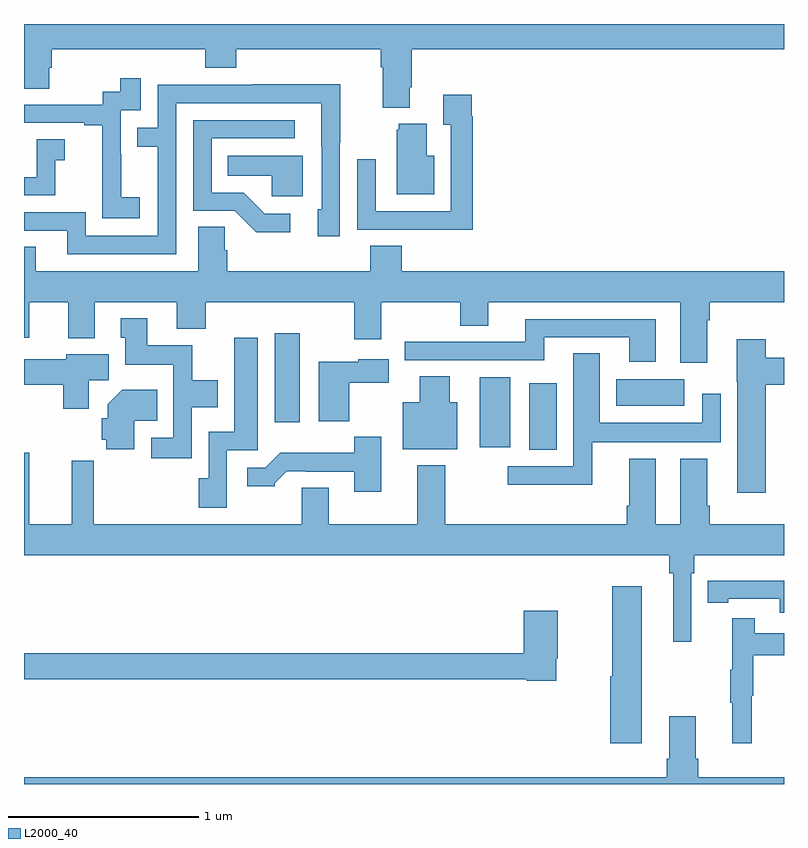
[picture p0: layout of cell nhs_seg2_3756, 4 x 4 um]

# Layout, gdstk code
import gdstk
lib = gdstk.Library(unit=1e-6, precision=1e-09)
def R(c, l, rs):  # rectangles x0, y0, x1, y1
    for r in rs: c.add(gdstk.rectangle(r[:2], r[2:], *l))
def P(c, l, *ps):  # polygons
    for p in ps: c.add(gdstk.Polygon(p, *l))
L2000_40 = (2000, 40)

nhs_seg2_3756 = lib.new_cell('nhs_seg2_3756')
R(nhs_seg2_3756, L2000_40, [(311.66,613.558,311.803,613.909), (311.399,613.572,311.56,613.942), (310.319,613.704,310.45,614.173), (312.116,613.79,312.475,613.93)])
P(nhs_seg2_3756, L2000_40, [(311.029,615.466),(311.042,615.466),(311.042,615.668),(313,615.668),(313,615.8),(309,615.8),(309,615.46),(309.133,615.46),(309.133,615.57),(309.146,615.57),(309.146,615.668),(309.953,615.668),(309.953,615.569),(310.118,615.569),(310.118,615.668),(310.877,615.668),(310.877,615.572),(310.889,615.572),(310.889,615.359),(311.029,615.359)],
  [(309.61,614.887),(309.512,614.887),(309.512,615.116),(309.51,615.116),(309.51,615.345),(309.615,615.345),(309.615,615.514),(309.507,615.514),(309.507,615.444),(309.414,615.444),(309.414,615.375),(309,615.375),(309,615.279),(309.317,615.279),(309.317,615.267),(309.413,615.267),(309.413,614.983),(309.412,614.983),(309.412,614.777),(309.61,614.777)],
  [(309.801,615.384),(310.565,615.384),(310.565,615.157),(310.566,615.157),(310.566,614.826),(310.547,614.826),(310.547,614.682),(310.662,614.682),(310.662,615.175),(310.665,615.175),(310.665,615.482),(310.201,615.482),(310.201,615.48),(309.705,615.48),(309.705,615.255),(309.595,615.255),(309.595,615.154),(309.705,615.154),(309.705,614.685),(309.324,614.685),(309.324,614.808),(309,614.808),(309,614.712),(309.227,614.712),(309.227,614.589),(309.801,614.589)],
  [(311.363,615.314),(311.356,615.314),(311.356,615.427),(311.207,615.427),(311.207,615.271),(311.247,615.271),(311.247,614.814),(310.851,614.814),(310.851,615.088),(310.755,615.088),(310.755,614.718),(311.071,614.718),(311.071,614.717),(311.363,614.717)],
  [(310.402,614.802),(310.267,614.802),(310.156,614.913),(309.987,614.913),(309.987,615.198),(310.426,615.198),(310.426,615.294),(309.891,615.294),(309.891,614.817),(310.11,614.817),(310.223,614.705),(310.402,614.705)],
  [(311.158,615.106),(311.119,615.106),(311.119,615.274),(310.973,615.274),(310.973,615.243),(310.961,615.243),(310.961,614.903),(311.158,614.903)],
  [(309.165,615.083),(309.214,615.083),(309.214,615.193),(309.066,615.193),(309.066,614.994),(309,614.994),(309,614.898),(309.165,614.898)],
  [(310.468,615.106),(310.072,615.106),(310.072,615.002),(310.303,615.002),(310.303,614.894),(310.468,614.894)],
  [(312.595,614.24),(312.608,614.24),(312.608,614.336),(313,614.336),(313,614.5),(310.988,614.5),(310.988,614.633),(310.823,614.633),(310.823,614.5),(310.07,614.5),(310.07,614.609),(310.056,614.609),(310.056,614.732),(309.917,614.732),(309.917,614.5),(309.061,614.5),(309.061,614.627),(309,614.627),(309,614.148),(309.028,614.148),(309.028,614.336),(309.233,614.336),(309.233,614.147),(309.373,614.147),(309.373,614.336),(309.803,614.336),(309.803,614.195),(309.956,614.195),(309.956,614.336),(310.739,614.336),(310.739,614.142),(310.879,614.142),(310.879,614.336),(311.296,614.336),(311.296,614.212),(311.443,614.212),(311.443,614.336),(312.455,614.336),(312.455,614.016),(312.595,614.016)],
  [(309.882,613.784),(310.021,613.784),(310.021,613.924),(309.885,613.924),(309.885,614.11),(309.649,614.11),(309.649,614.251),(309.509,614.251),(309.509,614.148),(309.533,614.148),(309.533,614.006),(309.786,614.006),(309.786,613.623),(309.669,613.623),(309.669,613.515),(309.882,613.515)],
  [(312.325,614.247),(311.639,614.247),(311.639,614.127),(311.005,614.127),(311.005,614.031),(311.737,614.031),(311.737,614.151),(312.185,614.151),(312.185,614.022),(312.325,614.022)],
  [(310.068,613.557),(310.231,613.557),(310.231,614.149),(310.106,614.149),(310.106,613.654),(309.972,613.654),(309.972,613.41),(309.92,613.41),(309.92,613.254),(310.068,613.254)],
  [(312.905,613.901),(313,613.901),(313,614.043),(312.905,614.043),(312.905,614.14),(312.752,614.14),(312.752,613.917),(312.755,613.917),(312.755,613.332),(312.905,613.332)],
  [(311.99,613.598),(312.666,613.598),(312.666,613.855),(312.57,613.855),(312.57,613.702),(312.031,613.702),(312.031,614.066),(311.891,614.066),(311.891,613.473),(311.547,613.473),(311.547,613.376),(311.99,613.376)],
  [(309.34,613.924),(309.445,613.924),(309.445,614.062),(309.222,614.062),(309.222,614.035),(309,614.035),(309,613.901),(309.206,613.901),(309.206,613.776),(309.34,613.776)],
  [(310.712,613.913),(310.92,613.913),(310.92,614.035),(310.758,614.035),(310.758,614.023),(310.55,614.023),(310.55,613.709),(310.712,613.709)],
  [(311.281,613.81),(311.242,613.81),(311.242,613.946),(311.084,613.946),(311.084,613.81),(310.994,613.81),(310.994,613.562),(311.281,613.562)],
  [(309.58,613.712),(309.701,613.712),(309.701,613.876),(309.518,613.876),(309.44,613.798),(309.44,613.725),(309.41,613.725),(309.41,613.611),(309.433,613.611),(309.433,613.562),(309.58,613.562)],
  [(310.879,613.627),(310.737,613.627),(310.737,613.543),(310.348,613.543),(310.269,613.464),(310.176,613.464),(310.176,613.367),(310.32,613.367),(310.32,613.382),(310.384,613.446),(310.483,613.446),(310.483,613.443),(310.739,613.443),(310.739,613.338),(310.879,613.338)],
  [(312.513,612.908),(312.527,612.908),(312.527,613.004),(313,613.004),(313,613.168),(312.608,613.168),(312.608,613.264),(312.595,613.264),(312.595,613.513),(312.455,613.513),(312.455,613.168),(312.325,613.168),(312.325,613.513),(312.185,613.513),(312.185,613.264),(312.173,613.264),(312.173,613.168),(311.217,613.168),(311.217,613.477),(311.069,613.477),(311.069,613.168),(310.603,613.168),(310.603,613.358),(310.463,613.358),(310.463,613.168),(309.368,613.168),(309.368,613.501),(309.25,613.501),(309.25,613.168),(309.028,613.168),(309.028,613.543),(309,613.543),(309,613.004),(312.397,613.004),(312.397,612.908),(312.416,612.908),(312.416,612.549),(312.513,612.549)],
  [(313,612.871),(312.706,612.871),(312.706,612.87),(312.598,612.87),(312.598,612.754),(312.706,612.754),(312.706,612.774),(312.978,612.774),(312.978,612.702),(313,612.702)],
  [(312.25,612.841),(312.097,612.841),(312.097,612.366),(312.086,612.366),(312.086,612.014),(312.25,612.014)],
  [(311.8,612.463),(311.808,612.463),(311.808,612.712),(311.63,612.712),(311.63,612.488),(309,612.488),(309,612.352),(311.646,612.352),(311.646,612.344),(311.8,612.344)],
  [(312.83,612.264),(312.838,612.264),(312.838,612.478),(313,612.478),(313,612.594),(312.845,612.594),(312.845,612.673),(312.728,612.673),(312.728,612.401),(312.717,612.401),(312.717,612.227),(312.728,612.227),(312.728,612.015),(312.83,612.015)],
  [(309,611.8),(313,611.8),(313,611.836),(312.548,611.836),(312.548,611.932),(312.535,611.932),(312.535,612.157),(312.395,612.157),(312.395,611.932),(312.383,611.932),(312.383,611.836),(309,611.836)])

lib.write_gds('nhs_seg2_3756.gds')
